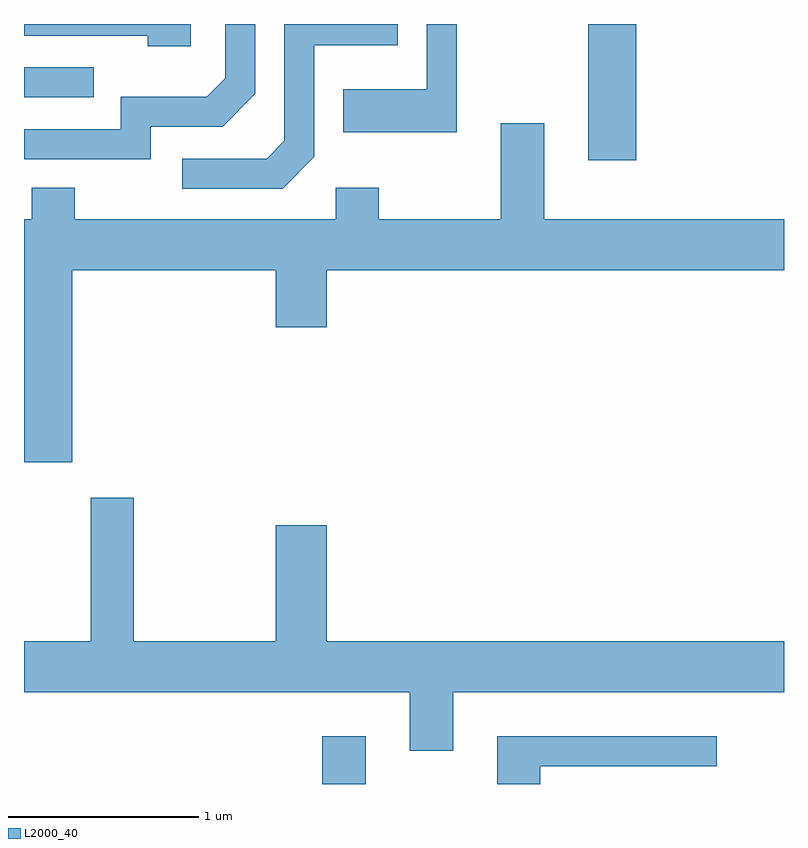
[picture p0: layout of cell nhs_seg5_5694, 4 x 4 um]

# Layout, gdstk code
import gdstk
lib = gdstk.Library(unit=1e-6, precision=1e-09)
def R(c, l, rs):  # rectangles x0, y0, x1, y1
    for r in rs: c.add(gdstk.rectangle(r[:2], r[2:], *l))
def P(c, l, *ps):  # polygons
    for p in ps: c.add(gdstk.Polygon(p, *l))
L2000_40 = (2000, 40)

nhs_seg5_5694 = lib.new_cell('nhs_seg5_5694')
R(nhs_seg5_5694, L2000_40, [(355.181,1474.072,355.409,1474.324), (356.581,1477.356,356.834,1478.072), (353.611,1477.686,353.978,1477.844)])
P(nhs_seg5_5694, L2000_40, [(354.489,1478.072),(353.611,1478.072),(353.611,1478.011),(354.261,1478.011),(354.261,1477.956),(354.489,1477.956)],
  [(355.139,1477.374),(355.139,1477.961),(355.579,1477.961),(355.579,1478.072),(354.981,1478.072),(354.981,1477.457),(354.889,1477.364),(354.443,1477.364),(354.443,1477.206),(354.972,1477.206)],
  [(354.279,1477.531),(354.657,1477.531),(354.829,1477.704),(354.829,1478.072),(354.671,1478.072),(354.671,1477.787),(354.574,1477.689),(354.121,1477.689),(354.121,1477.519),(353.611,1477.519),(353.611,1477.361),(354.279,1477.361)],
  [(355.889,1478.072),(355.731,1478.072),(355.731,1477.729),(355.291,1477.729),(355.291,1477.501),(355.889,1477.501)],
  [(353.864,1476.776),(354.936,1476.776),(354.936,1476.476),(355.204,1476.476),(355.204,1476.776),(357.611,1476.776),(357.611,1477.044),(356.349,1477.044),(356.349,1477.549),(356.121,1477.549),(356.121,1477.044),(355.479,1477.044),(355.479,1477.209),(355.251,1477.209),(355.251,1477.044),(353.879,1477.044),(353.879,1477.209),(353.651,1477.209),(353.651,1477.044),(353.611,1477.044),(353.611,1475.766),(353.864,1475.766)],
  [(355.869,1474.556),(357.611,1474.556),(357.611,1474.824),(355.204,1474.824),(355.204,1475.434),(354.936,1475.434),(354.936,1474.824),(354.189,1474.824),(354.189,1475.579),(353.961,1475.579),(353.961,1474.824),(353.611,1474.824),(353.611,1474.556),(355.641,1474.556),(355.641,1474.246),(355.869,1474.246)],
  [(356.329,1474.166),(357.258,1474.166),(357.258,1474.324),(356.101,1474.324),(356.101,1474.072),(356.329,1474.072)])

lib.write_gds('nhs_seg5_5694.gds')
